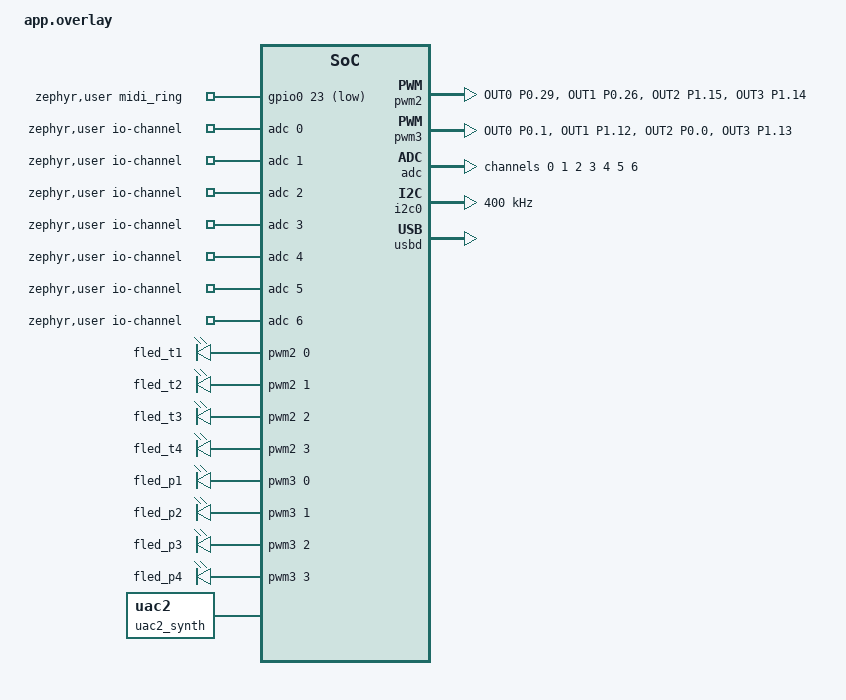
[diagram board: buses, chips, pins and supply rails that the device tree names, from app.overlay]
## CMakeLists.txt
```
# Copyright (c) 2026 Ryan Gilmore
# SPDX-License-Identifier: Apache-2.0

cmake_minimum_required(VERSION 3.20.0)
find_package(Zephyr REQUIRED HINTS $ENV{ZEPHYR_BASE})
project(sp1_usb_audio_example)

include(${ZEPHYR_BASE}/samples/subsys/usb/common/common.cmake)

foreach(f src/usb_audio.c src/usb_audio.h src/uacring.c src/uacring.h
          src/led.c src/led.h src/controls.c src/controls.h
          src/buttons.c src/buttons.h src/sp1_board.h)
  if(NOT EXISTS ${CMAKE_CURRENT_SOURCE_DIR}/${f})
    message(FATAL_ERROR "${f} missing: build with sp1/prep.sh, which stages it")
  endif()
endforeach()

target_sources(app PRIVATE
  src/main.c src/audio.c src/power.c src/gesture.c src/wdt.c
  src/usb_audio.c src/uacring.c
  src/led.c src/controls.c src/buttons.c)

set_source_files_properties(src/uacring.c PROPERTIES
  COMPILE_DEFINITIONS "UACRING_BARRIER=barrier_dmem_fence_full"
  COMPILE_OPTIONS "-include;zephyr/sys/barrier.h")

include(${CMAKE_CURRENT_SOURCE_DIR}/isofast/CMakeLists.txt)

target_include_directories(app PRIVATE src)
```

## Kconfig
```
# Copyright (c) 2026 Ryan Gilmore
# SPDX-License-Identifier: Apache-2.0

source "samples/subsys/usb/common/Kconfig.sample_usbd"
rsource "isofast/Kconfig"
source "Kconfig.zephyr"
```

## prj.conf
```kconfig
# Copyright (c) 2026 Ryan Gilmore
# SPDX-License-Identifier: Apache-2.0

CONFIG_MAIN_THREAD_PRIORITY=7
CONFIG_MAIN_STACK_SIZE=2048

CONFIG_FPU=y
CONFIG_GPIO=y
CONFIG_I2C=y
CONFIG_I2S=y
CONFIG_I2S_NRFX=y
CONFIG_PWM=y
CONFIG_ADC=y

CONFIG_USB_DEVICE_STACK_NEXT=y
CONFIG_USBD_AUDIO2_CLASS=y
CONFIG_UDC_ENABLE_SOF=y

# Zephyr's test VID/PID. Use your own for anything you distribute.
CONFIG_SAMPLE_USBD_VID=0x2fe3
CONFIG_SAMPLE_USBD_PID=0x0001
CONFIG_SAMPLE_USBD_PRODUCT="SP-1 USB audio example"
CONFIG_SAMPLE_USBD_MAX_POWER=50

CONFIG_HWINFO=y
CONFIG_PRINTK=y
CONFIG_LOG=n

CONFIG_REBOOT=y
CONFIG_STACK_SENTINEL=y
CONFIG_HW_STACK_PROTECTION=n
CONFIG_CLOCK_CONTROL_NRF_K32SRC_SYNTH=y
```

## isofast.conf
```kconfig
# Copyright (c) 2026 Ryan Gilmore
# SPDX-License-Identifier: Apache-2.0

CONFIG_UDC_NRF=n
CONFIG_UDC_NRF_ISOFAST=y
```

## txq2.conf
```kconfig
# Copyright (c) 2026 Ryan Gilmore
# SPDX-License-Identifier: Apache-2.0

CONFIG_I2S_NRFX_TX_BLOCK_COUNT=2
```

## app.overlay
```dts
/*
 * Copyright (c) 2026 Ryan Gilmore
 *
 * SPDX-License-Identifier: Apache-2.0
 */
#include <zephyr/dt-bindings/adc/adc.h>
#include <zephyr/dt-bindings/adc/nrf-saadc.h>
#include <zephyr/dt-bindings/gpio/gpio.h>
#include <zephyr/dt-bindings/pwm/pwm.h>
#include <zephyr/dt-bindings/usb/audio.h>

/ {
	zephyr,user {
		midi_ring_gpios = <&gpio0 23 GPIO_ACTIVE_LOW>;
		io-channels = <&adc 0>, <&adc 1>, <&adc 2>, <&adc 3>, <&adc 4>, <&adc 5>, <&adc 6>;
	};

	/* led.c's fixed order: Track 1..4, then side LED 1..4. */
	feldd_leds: feldd-leds {
		compatible = "pwm-leds";
		fled_t1: fled_t1 { pwms = <&pwm2 0 PWM_USEC(1024) PWM_POLARITY_NORMAL>; };
		fled_t2: fled_t2 { pwms = <&pwm2 1 PWM_USEC(1024) PWM_POLARITY_NORMAL>; };
		fled_t3: fled_t3 { pwms = <&pwm2 2 PWM_USEC(1024) PWM_POLARITY_NORMAL>; };
		fled_t4: fled_t4 { pwms = <&pwm2 3 PWM_USEC(1024) PWM_POLARITY_NORMAL>; };
		fled_p1: fled_p1 { pwms = <&pwm3 0 PWM_USEC(1024) PWM_POLARITY_NORMAL>; };
		fled_p2: fled_p2 { pwms = <&pwm3 1 PWM_USEC(1024) PWM_POLARITY_NORMAL>; };
		fled_p3: fled_p3 { pwms = <&pwm3 2 PWM_USEC(1024) PWM_POLARITY_NORMAL>; };
		fled_p4: fled_p4 { pwms = <&pwm3 3 PWM_USEC(1024) PWM_POLARITY_NORMAL>; };
	};

	uac2_synth: usb_audio2 {
		compatible = "zephyr,uac2";
		status = "okay";
		full-speed;
		audio-function = <AUDIO_FUNCTION_MUSICAL_INSTRUMENT>;

		uac2_synth_clock: clock {
			compatible = "zephyr,uac2-clock-source";
			clock-type = "internal-fixed";
			frequency-control = "read-only";
			sampling-frequencies = <48000>;
		};

		uac2_synth_in: synthesizer {
			compatible = "zephyr,uac2-input-terminal";
			clock-source = <&uac2_synth_clock>;
			terminal-type = <EMBEDDED_TERMINAL_SYNTHESIZER>;
			front-left;
			front-right;
		};

		uac2_usb_out: usb_out {
			compatible = "zephyr,uac2-output-terminal";
			data-source = <&uac2_synth_in>;
			clock-source = <&uac2_synth_clock>;
			terminal-type = <USB_TERMINAL_STREAMING>;
		};

		uac2_capture: capture {
			compatible = "zephyr,uac2-audio-streaming";
			linked-terminal = <&uac2_usb_out>;
			subslot-size = <2>;
			bit-resolution = <16>;
		};
	};
};

&pwm2 {
	status = "okay";
	pinctrl-0 = <&pwm2_default>;
	pinctrl-1 = <&pwm2_sleep>;
	pinctrl-names = "default", "sleep";
};

&pwm3 {
	status = "okay";
	pinctrl-0 = <&pwm3_default>;
	pinctrl-1 = <&pwm3_sleep>;
	pinctrl-names = "default", "sleep";
};

&adc {
	status = "okay";
	#address-cells = <1>;
	#size-cells = <0>;
	channel@0 { reg = <0>; zephyr,gain = "ADC_GAIN_1_6"; zephyr,reference = "ADC_REF_INTERNAL";
		zephyr,acquisition-time = <ADC_ACQ_TIME(ADC_ACQ_TIME_MICROSECONDS, 20)>;
		zephyr,input-positive = <NRF_SAADC_AIN0>; zephyr,resolution = <12>; };
	channel@1 { reg = <1>; zephyr,gain = "ADC_GAIN_1_6"; zephyr,reference = "ADC_REF_INTERNAL";
		zephyr,acquisition-time = <ADC_ACQ_TIME(ADC_ACQ_TIME_MICROSECONDS, 20)>;
		zephyr,input-positive = <NRF_SAADC_AIN1>; zephyr,resolution = <12>; };
	channel@2 { reg = <2>; zephyr,gain = "ADC_GAIN_1_6"; zephyr,reference = "ADC_REF_INTERNAL";
		zephyr,acquisition-time = <ADC_ACQ_TIME(ADC_ACQ_TIME_MICROSECONDS, 20)>;
		zephyr,input-positive = <NRF_SAADC_AIN3>; zephyr,resolution = <12>; };
	channel@3 { reg = <3>; zephyr,gain = "ADC_GAIN_1_6"; zephyr,reference = "ADC_REF_INTERNAL";
		zephyr,acquisition-time = <ADC_ACQ_TIME(ADC_ACQ_TIME_MICROSECONDS, 20)>;
		zephyr,input-positive = <NRF_SAADC_AIN6>; zephyr,resolution = <12>; };
	channel@4 { reg = <4>; zephyr,gain = "ADC_GAIN_1_6"; zephyr,reference = "ADC_REF_INTERNAL";
		zephyr,acquisition-time = <ADC_ACQ_TIME(ADC_ACQ_TIME_MICROSECONDS, 20)>;
		zephyr,input-positive = <NRF_SAADC_AIN2>; zephyr,resolution = <12>; };
	channel@5 { reg = <5>; zephyr,gain = "ADC_GAIN_1_6"; zephyr,reference = "ADC_REF_INTERNAL";
		zephyr,acquisition-time = <ADC_ACQ_TIME(ADC_ACQ_TIME_MICROSECONDS, 20)>;
		zephyr,input-positive = <NRF_SAADC_AIN7>; zephyr,resolution = <12>; };
	channel@6 { reg = <6>; zephyr,gain = "ADC_GAIN_1_6"; zephyr,reference = "ADC_REF_INTERNAL";
		zephyr,acquisition-time = <ADC_ACQ_TIME(ADC_ACQ_TIME_MICROSECONDS, 20)>;
		zephyr,input-positive = <NRF_SAADC_AIN4>; zephyr,resolution = <12>; };
};

&i2s0_default {
	group1 {
		psels = <NRF_PSEL(I2S_SCK_S, 0, 12)>,
			<NRF_PSEL(I2S_LRCK_S, 0, 11)>,
			<NRF_PSEL(I2S_SDOUT, 1, 9)>;
	};
};

&i2c0 {
	clock-frequency = <I2C_BITRATE_FAST>;
};

&pinctrl {
	pwm2_default: pwm2_default {
		group1 { psels = <NRF_PSEL(PWM_OUT0, 0, 29)>, <NRF_PSEL(PWM_OUT1, 0, 26)>,
			<NRF_PSEL(PWM_OUT2, 1, 15)>, <NRF_PSEL(PWM_OUT3, 1, 14)>; };
	};
	pwm2_sleep: pwm2_sleep {
		group1 { psels = <NRF_PSEL(PWM_OUT0, 0, 29)>, <NRF_PSEL(PWM_OUT1, 0, 26)>,
			<NRF_PSEL(PWM_OUT2, 1, 15)>, <NRF_PSEL(PWM_OUT3, 1, 14)>;
			low-power-enable; };
	};
	pwm3_default: pwm3_default {
		group1 { psels = <NRF_PSEL(PWM_OUT0, 0, 1)>, <NRF_PSEL(PWM_OUT1, 1, 12)>,
			<NRF_PSEL(PWM_OUT2, 0, 0)>, <NRF_PSEL(PWM_OUT3, 1, 13)>; };
	};
	pwm3_sleep: pwm3_sleep {
		group1 { psels = <NRF_PSEL(PWM_OUT0, 0, 1)>, <NRF_PSEL(PWM_OUT1, 1, 12)>,
			<NRF_PSEL(PWM_OUT2, 0, 0)>, <NRF_PSEL(PWM_OUT3, 1, 13)>;
			low-power-enable; };
	};
};

zephyr_udc0: &usbd {
	compatible = "nordic,nrf-usbd";
	status = "okay";
};

&uart0 {
	status = "disabled";
};
```

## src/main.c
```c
/*
 * Copyright (c) 2026 Ryan Gilmore
 *
 * SPDX-License-Identifier: Apache-2.0
 */
#include "audio.h"
#include "gesture.h"
#include "power.h"
#include "usb_audio.h"
#include "wdt.h"

#include <math.h>
#include <sample_usbd.h>
#include <zephyr/kernel.h>
#include <zephyr/usb/usbd.h>

#define TONE_PERIOD 48u
#define USB_GAIN_Q8 128

static int16_t sine[TONE_PERIOD];

static void render(int16_t *lr, uint32_t frames)
{
	static int16_t usb[AUDIO_BLK_FRAMES * 2];
	static uint32_t phase;
	static int32_t vol_prev = 45;
	const int32_t vol_target = audio_volume_q8();
	const int32_t vol_gd = vol_target - vol_prev;

	if (frames > AUDIO_BLK_FRAMES) frames = AUDIO_BLK_FRAMES;
	for (uint32_t i = 0; i < frames; i++) {
		const int32_t s = sine[phase];
		phase = (phase + 1u) % TONE_PERIOD;

		/* The ramp spreads each volume step across one block so a Vol press does
		 * not click. */
		const int32_t g = vol_prev + vol_gd * (int32_t)(i + 1u) /
				  (int32_t)frames;
		const int16_t speaker = (int16_t)((s * g) >> 8);
		const int16_t host = (int16_t)((s * USB_GAIN_Q8) >> 8);
		lr[i * 2u] = speaker;
		lr[i * 2u + 1u] = speaker;
		usb[i * 2u] = host;
		usb[i * 2u + 1u] = host;
	}
	vol_prev = vol_target;
	usb_audio_push(usb, frames);
}

int main(void)
{
	/* The stock bootloader's roughly 5 s watchdog is already counting. */
	wdt_ensure_started();
	feed_wdt();
	power_boot();

	for (uint32_t i = 0; i < TONE_PERIOD; i++) {
		/* -12 dBFS before either output gain. */
		sine[i] = (int16_t)(8192.0f *
			sinf(2.0f * 3.14159265f * (float)i / (float)TONE_PERIOD));
	}

	feed_wdt();
	usb_audio_init();
	struct usbd_context *ctx = sample_usbd_init_device(usb_audio_usbd_msg);
	if (ctx != NULL) (void)usbd_enable(ctx);
	feed_wdt();
	audio_start(render);

	for (;;) {
		feed_wdt();
		power_poll();
		k_msleep(GESTURE_TICK_MS);
	}
	return 0;
}
```

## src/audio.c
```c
/* SP-1 audio bring-up.
 *
 * Ported from chattock/sp1-tape-looper, firmware/src/main.c (MIT), at 2565e79:
 * tas2505_configure(), hp_codec_init() on its HP_TIM_TEST path, audio_thread()
 * and audio_init(). Register values and the init ORDER are unchanged; that is
 * the part proven on hardware. The CS42L42 sequence is Tim Knapen's
 * (github.com/timknapen/SP-1-dev/wiki/I2C).
 *
 *   Copyright (c) chattock, sp1-tape-looper contributors. MIT License.
 *
 * Clock topology: the 3.072 MHz oscillator (enabled on P0.13) drives SCLK; the
 * CS42L42 is frame master and divides it by 64 to an exact 48 kHz LRCK; the
 * nRF I2S and the TAS2505 are both slaves.
 */
/*
 * Copyright (c) 2026 Ryan Gilmore
 *
 * SPDX-License-Identifier: Apache-2.0
 */
#include "audio.h"
#include "usb_audio.h"
#include "wdt.h"

#include <cmsis_core.h>
#include <hal/nrf_gpio.h>
#include <string.h>
#include <zephyr/device.h>
#include <zephyr/drivers/i2c.h>
#include <zephyr/drivers/i2s.h>
#include <zephyr/kernel.h>

#define CS42_RST_PORT NRF_P0
#define CS42_RST_PIN  15u
#define TAS_RST_PORT  NRF_P0
#define TAS_RST_PIN   9u      /* an NFC pin: the board's uicr reclaims it as GPIO */
#define OSC_EN_PORT   NRF_P0
#define OSC_EN_PIN    13u
#define CS42L42_ADDR  0x48u
#define TAS2505_ADDR  0x18u
#define BLK_BYTES     (AUDIO_BLK_FRAMES * 2 * (int)sizeof(int16_t))

/* nrfx TX queue (2), two EasyDMA buffers, the block being filled, plus slack. */
K_MEM_SLAB_DEFINE_STATIC(tx_slab, BLK_BYTES, 8, 4);

static const struct device *const i2c_bus = DEVICE_DT_GET(DT_NODELABEL(i2c0));
static const struct device *const i2s_dev = DEVICE_DT_GET(DT_NODELABEL(i2s0));

static volatile uint16_t vol_target = 45;   /* main thread writes, audio thread reads */
static audio_render_fn render_cb;
static bool cs42_up;
static bool i2s_started;
static int8_t hp_in = -1;

static void gpio_drive_high(NRF_GPIO_Type *port, uint32_t pin)
{
	port->OUTSET = 1u << pin;
	port->PIN_CNF[pin] =
		(GPIO_PIN_CNF_DIR_Output << GPIO_PIN_CNF_DIR_Pos) |
		(GPIO_PIN_CNF_DRIVE_S0S1 << GPIO_PIN_CNF_DRIVE_Pos) |
		(GPIO_PIN_CNF_INPUT_Connect << GPIO_PIN_CNF_INPUT_Pos);
	port->OUTSET = 1u << pin;
}

static void gpio_drive_low(NRF_GPIO_Type *port, uint32_t pin)
{
	port->OUTCLR = 1u << pin;
}

/* BOOT CLICK, 2026-09-16. The speaker used to click as it came up: the DAC was
 * unmuted on page 0 BEFORE any analog block existed, class-D gain was set to
 * +18 dB and attenuation to 0 dB BEFORE the driver powered up, and every analog
 * enable was a back-to-back I2C write with nothing allowed to settle. The amp
 * was being switched on into a live path -- amp before preamp.
 *
 * Fixed by muting across the bring-up and unmuting last, plus two settling
 * delays. NOT a volume problem: master volume is applied digitally -- a boot
 * volume ramp would change nothing. This diverges from the looper's init order
 * deliberately (Ryan, 2026-09-16). */
/* ---- TAS2505 speaker amp (TI SLAU472C §5.1). PLL locked to BCLK:
 * 3.072 MHz x J32 = 98.304 MHz / (NDAC2 x MDAC8 x DOSR128) = 48000 Hz. ---- */
static int tas_wr(uint8_t reg, uint8_t val)
{
	return i2c_reg_write_byte(i2c_bus, TAS2505_ADDR, reg, val);
}

static bool tas2505_configure(void)
{
	int rc = 0;

	rc |= tas_wr(0x00, 0x00);
	rc |= tas_wr(0x01, 0x01);          /* software reset */
	k_msleep(5);

	rc |= tas_wr(0x00, 0x01);
	rc |= tas_wr(0x02, 0x00);          /* LDO 1.8 V, level shifters up */

	rc |= tas_wr(0x00, 0x00);
	rc |= tas_wr(0x04, 0x07);          /* PLL_CLKIN = BCLK, CODEC_CLKIN = PLL */
	rc |= tas_wr(0x05, 0x91);          /* PLL on, P=1, R=1 */
	rc |= tas_wr(0x06, 0x20);          /* J = 32 */
	rc |= tas_wr(0x07, 0x00);          /* D = 0 */
	rc |= tas_wr(0x08, 0x00);
	k_msleep(15);                      /* PLL lock */
	rc |= tas_wr(0x0B, 0x82);          /* NDAC = 2 */
	rc |= tas_wr(0x0C, 0x88);          /* MDAC = 8 */
	rc |= tas_wr(0x0D, 0x00);
	rc |= tas_wr(0x0E, 0x80);          /* DOSR = 128 */
	rc |= tas_wr(0x1B, 0x00);          /* I2S, 16-bit, slave */
	rc |= tas_wr(0x1C, 0x00);
	rc |= tas_wr(0x3C, 0x02);          /* PRB_P2, mono */
	rc |= tas_wr(0x3F, 0x90);          /* DAC up, left -> left, soft-step */
	rc |= tas_wr(0x41, 0x00);          /* digital gain 0 dB */
	/* The DAC stays MUTED here -- its power-on-reset state -- through the whole
	 * analog bring-up below. The unmute moved to the end of this function; see
	 * the boot-click note above. */

	rc |= tas_wr(0x00, 0x01);
	rc |= tas_wr(0x01, 0x10);          /* analog reference on */
	rc |= tas_wr(0x0A, 0x00);          /* common mode 0.9 V */
	/* Let the common-mode node charge before anything drives a load. These were
	 * back-to-back I2C writes, which is the click. */
	k_msleep(20);
	rc |= tas_wr(0x0C, 0x04);          /* DAC -> output mixer */
	rc |= tas_wr(0x16, 0x00);
	rc |= tas_wr(0x18, 0x00);
	rc |= tas_wr(0x09, 0x20);          /* HP driver up */
	rc |= tas_wr(0x10, 0x00);
	rc |= tas_wr(0x2E, 0x00);          /* speaker attenuation 0 dB */
	rc |= tas_wr(0x30, 0x30);          /* class-D gain +18 dB */
	rc |= tas_wr(0x2D, 0x02);          /* speaker driver up */
	/* And let the driver settle before the DAC is allowed to feed it. */
	k_msleep(20);

	rc |= tas_wr(0x00, 0x00);
	/* Unmute LAST, into an already-settled analog path, and let the DAC's own
	 * soft-step (0x3F bit 4, set above) do the ramp. */
	rc |= tas_wr(0x40, 0x04);          /* unmute */
	k_msleep(10);
	return rc == 0;
}

/* ---- CS42L42 headphones: paged register protocol ---- */
static bool tpw(uint16_t reg, uint8_t val)
{
	uint8_t p[2] = { 0x00, (uint8_t)(reg >> 8) };
	uint8_t b[2] = { (uint8_t)reg, val };
	if (i2c_write(i2c_bus, p, 2, CS42L42_ADDR) != 0) return false;
	return i2c_write(i2c_bus, b, 2, CS42L42_ADDR) == 0;
}

static bool tpr(uint16_t reg, uint8_t *val)
{
	uint8_t p[2] = { 0x00, (uint8_t)(reg >> 8) };
	uint8_t o = (uint8_t)reg;
	if (i2c_write(i2c_bus, p, 2, CS42L42_ADDR) != 0) return false;
	return i2c_write_read(i2c_bus, CS42L42_ADDR, &o, 1, val, 1) == 0;
}

static void hp_codec_init(void)
{
	uint8_t id[3] = { 0 }, pll;

	gpio_drive_low(CS42_RST_PORT, CS42_RST_PIN);   /* without it the codec NAKs */
	k_msleep(5);
	gpio_drive_high(CS42_RST_PORT, CS42_RST_PIN);
	k_msleep(10);

	(void)tpr(0x1001, &id[0]);
	(void)tpr(0x1002, &id[1]);
	(void)tpr(0x1003, &id[2]);
	if (id[0] != 0x42) return;
	(void)tpw(0x1508, 0x10);   /* PLL Control 3 */
	(void)tpw(0x1504, 0x80);   /* PLL Division Fractional Byte 2 */
	(void)tpw(0x1505, 0x3E);   /* PLL Division Integer */
	(void)tpw(0x150A, 0x7D);   /* PLL Calibration Ratio */
	(void)tpw(0x1009, 0x00);   /* MCLK Control */
	(void)tpw(0x1201, 0x01);   /* MCLK Source Select */
	(void)tpw(0x120A, 0x01);   /* Input ASRC Clock Select */
	(void)tpw(0x120B, 0x01);   /* Output ASRC Clock Select */
	(void)tpw(0x1501, 0x01);   /* PLL start */
	(void)tpw(0x1107, 0x01);   /* Oscillator Switch: SCLK */
	for (int t = 0; t < 10; t++) {
		k_msleep(1);
		if (tpr(0x1109, &pll) && pll == 0x02) break;
	}
	(void)tpw(0x1007, 0x13);   /* Serial Port SRC Control */
	(void)tpw(0x1203, 0x1F);   /* FSYNC Pulse Width Lower (64-SCLK frame) */
	(void)tpw(0x1205, 0x3F);   /* FSYNC Period Lower */
	(void)tpw(0x1207, 0x34);   /* ASP Clock Config: MASTER */
	(void)tpw(0x1208, 0x1A);   /* ASP Frame Configuration */
	(void)tpw(0x2A02, 0x02);   /* Channel 1 */
	(void)tpw(0x2A05, 0x42);   /* Channel 2 */
	(void)tpw(0x2601, 0x4C);   /* SRC Input Sample Rate */
	(void)tpw(0x2609, 0x4C);   /* SRC Output Sample Rate */
	(void)tpw(0x2A01, 0x0C);   /* ASP Receive Enable */
	(void)tpw(0x240E, 0x01);   /* Equalizer Input Mute Control */
	(void)tpw(0x2301, 0x00);   /* Mixer A 0 dB */
	(void)tpw(0x2303, 0x00);   /* Mixer B 0 dB */
	(void)tpw(0x1101, 0x96);   /* power up */
	k_msleep(10);
	(void)tpw(0x1121, 0x41);   /* Headset switch control */
	(void)tpw(0x1B74, 0x03);   /* Misc detect control */
	(void)tpw(0x1129, 0x01);   /* Headset clamp disable */
	(void)tpw(0x2001, 0x0D);   /* HP mute all */
	(void)tpw(0x1F06, 0x84);   /* DAC Control 2 */
	(void)tpw(0x2301, 0x00);
	(void)tpw(0x2303, 0x00);
	(void)tpw(0x1B73, 0xC2);   /* Tip Sense Control */
	(void)tpw(0x1B75, 0x9F);   /* Mic detect control 1 */
	(void)tpw(0x2001, 0x01);   /* unmute headphones */
	cs42_up = true;
}

/* ---- speaker on/off: TAS2505 page 1, reg 0x2D (0x02 driver up, 0x00 off) ---- */
static void tas_set_speaker(bool on)
{
	(void)tas_wr(0x00, 0x01);
	(void)tas_wr(0x2D, on ? 0x02 : 0x00);
	(void)tas_wr(0x00, 0x00);
}

/* Headphones in the jack: CS42L42 DET_STATUS1 (page 0x1B, reg 0x77) bit 7, per
 * Tim Knapen's wiki and the looper. 1 plugged, 0 not, -1 read failed. */
static int hp_detect(void)
{
	uint8_t v;
	if (!tpr(0x1B77, &v)) return -1;
	return (v >> 7) & 1;
}

void audio_set_volume_q8(uint16_t q8)
{
	vol_target = q8 > 256 ? 256 : q8;
}

uint16_t audio_volume_q8(void)
{
	return vol_target;
}

void audio_hp_poll(void)
{
	static int div, cand = -1, cnt;
	if (!cs42_up || ++div < 4) return;
	div = 0;
	int c = hp_detect();
	if (c < 0) return;                     /* a failed read holds */
	if (c != cand) {
		cand = c;
		cnt = 1;
		return;
	}
	if (++cnt >= 3 && c != hp_in) {
		hp_in = (int8_t)c;
		tas_set_speaker(!c);
	}
}

/* ---- power-down: the looper's power_off() order ---- */
void audio_shutdown(void)
{
	/* SYSTEM_OFF stops only the nRF. Left powered, the amp and codec drain the
	 * battery for days and can murmur with no clock. Mute both output stages
	 * first so they discharge quietly, then reset them. */
	(void)tpw(0x2001, 0x0D);           /* CS42L42 HP: mute all */
	(void)tas_wr(0x00, 0x01);
	(void)tas_wr(0x30, 0x00);          /* TAS2505 class-D driver: mute */
	k_msleep(30);
	(void)tas_wr(0x00, 0x00);
	(void)tas_wr(0x01, 0x01);          /* TAS2505 software reset */
	gpio_drive_low(CS42_RST_PORT, CS42_RST_PIN);
	gpio_drive_low(OSC_EN_PORT, OSC_EN_PIN);   /* it draws through SYSTEM_OFF */
}

/* ---- the I2S thread ---- */
static K_THREAD_STACK_DEFINE(audio_stack, 1536);
static struct k_thread audio_tcb;

/* Blocks written before the I2S start: exactly the driver's TX queue, which is
 * also what sets output latency (a new block plays after the ones queued). */
#define AUDIO_PRIME CONFIG_I2S_NRFX_TX_BLOCK_COUNT

static void prime(int n, k_timeout_t wait)
{
	for (int i = 0; i < n; i++) {
		void *blk;
		if (k_mem_slab_alloc(&tx_slab, &blk, wait) != 0) break;
		memset(blk, 0, BLK_BYTES);
		if (i2s_write(i2s_dev, blk, BLK_BYTES) != 0) k_mem_slab_free(&tx_slab, blk);
	}
}

static void audio_thread(void *a, void *b, void *c)
{
	ARG_UNUSED(a);
	ARG_UNUSED(b);
	ARG_UNUSED(c);

	struct i2s_config cfg = {
		.word_size = 16,   /* 16 MSBs of each 32-SCLK half-frame */
		.channels = 2,
		.format = I2S_FMT_DATA_FORMAT_I2S,
		.options = I2S_OPT_FRAME_CLK_SLAVE | I2S_OPT_BIT_CLK_SLAVE,
		.frame_clk_freq = AUDIO_SR,
		.mem_slab = &tx_slab,
		.block_size = BLK_BYTES,
		.timeout = 2000,
	};

	if (!device_is_ready(i2s_dev) || i2s_configure(i2s_dev, I2S_DIR_TX, &cfg) != 0) return;
	prime(AUDIO_PRIME, K_FOREVER);
	(void)i2s_trigger(i2s_dev, I2S_DIR_TX, I2S_TRIGGER_START);
	i2s_started = true;

	int wfail = 0;
	for (;;) {
		/* STARVATION GUARD (2026-09-24). Main feeds the watchdog; this thread
		 * outranks it. When a render needs the whole CPU, main gets nothing and
		 * the watchdog resets the unit. If main has not fed it for 1.5 s, step
		 * aside for 20 ms: main finishes its pass and feeds it. The I2S queue runs
		 * dry -- a dropout, which the wfail path below recovers -- instead of a
		 * reset. Idle otherwise: main feeds every few ms. A truly hung main still
		 * stops feeding, so the watchdog still catches it. */
		if (wdt_ms_since_feed() > 1500u) k_msleep(20);

		void *blk;
		if (k_mem_slab_alloc(&tx_slab, &blk, K_FOREVER) != 0) continue;
		/* The slot's time is the audio clock's; the push after the render is
		 * late by the render. The USB regulator steers on this claim. */
		usb_audio_claim(AUDIO_BLK_FRAMES);
		render_cb(blk, AUDIO_BLK_FRAMES);
		/* The USB copy was pushed by render_cb itself (main.c): a second output
		 * at its own level, not this block. */
		if (i2s_write(i2s_dev, blk, BLK_BYTES) != 0) {
			k_mem_slab_free(&tx_slab, blk);
			/* A stopped stream fails every write forever: drop, re-prime, restart. */
			if (++wfail >= 8) {
				wfail = 0;
				(void)i2s_trigger(i2s_dev, I2S_DIR_TX, I2S_TRIGGER_DROP);
				prime(AUDIO_PRIME, K_NO_WAIT);
				(void)i2s_trigger(i2s_dev, I2S_DIR_TX, I2S_TRIGGER_START);
			}
			continue;
		}
		wfail = 0;
	}
}

void audio_start(audio_render_fn render)
{
	render_cb = render;

	/* The looper's order: resets, osc + I2S + TAS2505, then the CS42L42. */
	gpio_drive_high(CS42_RST_PORT, CS42_RST_PIN);
	gpio_drive_high(TAS_RST_PORT, TAS_RST_PIN);
	k_msleep(20);
	gpio_drive_high(OSC_EN_PORT, OSC_EN_PIN);
	k_msleep(5);

	/* PREEMPTIBLE, on purpose. Zephyr's USB threads (usbd, the nRF driver's) are
	 * K_PRIO_COOP(8) and outrank it, so USB work can land mid-render. Made
	 * K_PRIO_COOP(7) to stop that, a render that needs the whole CPU then starved
	 * main and the USB threads for 5 s and the WATCHDOG RESET the unit. Under
	 * overload a preemptible audio thread fails as a late block -- a glitch --
	 * instead. */
	k_thread_create(&audio_tcb, audio_stack, K_THREAD_STACK_SIZEOF(audio_stack),
			audio_thread, NULL, NULL, NULL, K_PRIO_PREEMPT(0), 0, K_NO_WAIT);
	k_thread_name_set(&audio_tcb, "audio");

	for (int i = 0; i < 100 && !i2s_started; i++) k_msleep(2);
	(void)tas2505_configure();
	hp_codec_init();

	/* Auto-mute boot state, the looper's: a majority of 5 reads, 8 ms apart. */
	if (cs42_up) {
		int votes = 0, reads = 0;
		for (int i = 0; i < 5; i++) {
			int c = hp_detect();
			if (c >= 0) {
				reads++;
				votes += c;
			}
			k_msleep(8);
		}
		hp_in = (reads > 0 && votes * 2 > reads) ? 1 : 0;
		tas_set_speaker(!hp_in);
	}
}
```

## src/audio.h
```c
/* SP-1 audio output: CS42L42 headphones + TAS2505 speaker, 48 kHz 16-bit stereo. */
/*
 * Copyright (c) 2026 Ryan Gilmore
 *
 * SPDX-License-Identifier: Apache-2.0
 */
#pragma once

#include <stdint.h>

#define AUDIO_SR         48000
/* 128 = 2.67 ms at 48 kHz: a new block plays after the ones queued, so latency
 * scales with block length. */
#define AUDIO_BLK_FRAMES 128          /* 2.67 ms at 48 kHz */

/* Fill `frames` interleaved stereo frames. Runs on the audio thread,
 * PREEMPT(0): no blocking, no I2C, no printk. */
typedef void (*audio_render_fn)(int16_t *lr, uint32_t frames);

void audio_start(audio_render_fn render);
/* Mute and reset both output chips, stop the oscillator. Before SYSTEM_OFF
 * only; main thread (it uses I2C). */
void audio_shutdown(void);

/* Master volume, Q8 (256 = unity). Main thread; the audio thread ramps to it
 * across one block, as the looper does, so a step never clicks. */
void audio_set_volume_q8(uint16_t q8);
/* Read the target volume for the audio thread's per-block ramp. */
uint16_t audio_volume_q8(void);

/* Headphone auto-mute of the speaker, the looper's: CS42L42 jack detect polled
 * every 4th call (~40 ms at the 10 ms tick), switching only after 3 equal reads;
 * a failed read holds. Main thread only -- the audio thread does no I2C. */
void audio_hp_poll(void);
```

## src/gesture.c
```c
/* gesture.c — see gesture.h. */
/*
 * Copyright (c) 2026 Ryan Gilmore
 *
 * SPDX-License-Identifier: Apache-2.0
 */
#include "gesture.h"

void gesture_init(struct gesture_state *s)
{
	s->func_ticks = 0;
	s->func_armed = false;
}

bool gesture_step(struct gesture_state *s, bool func_low)
{
	/* A •• already down at boot (the wake press, or a hold through a reset)
	 * must not start a power-off: feldd's func_armed rule. */
	if (!s->func_armed) {
		if (!func_low) s->func_armed = true;
		s->func_ticks = 0;
		return false;
	}
	if (!func_low) {
		s->func_ticks = 0;
		return false;
	}
	return ++s->func_ticks >= GESTURE_OFF_TICKS;
}

void gesture_cancel(struct gesture_state *s)
{
	s->func_ticks = 0;
}

void wake_init(struct wake_state *s)
{
	s->held_ms = 0;
}

enum wake wake_step(struct wake_state *s, bool func_low, bool usb_present)
{
	if (func_low) {
		s->held_ms += WAKE_TICK_MS;
		return s->held_ms >= WAKE_HOLD_MS ? WAKE_BOOT : WAKE_WAIT;
	}
	s->held_ms = 0;
	return usb_present ? WAKE_WAIT : WAKE_OFF;
}

int battery_pct(int raw)
{
	if (raw < 0) return -1;
	int pct = (raw - BATT_RAW_EMPTY) * 100 / (BATT_RAW_FULL - BATT_RAW_EMPTY);
	if (pct < 0) pct = 0;
	if (pct > 100) pct = 100;
	return pct;
}

unsigned charge_gauge_bits(int pct, bool charging, unsigned tick)
{
	if (!charging) return 0xFu;
	int n_full = pct < 0 ? 0 : pct / 25;
	if (n_full > 4) n_full = 4;
	unsigned bits = (1u << n_full) - 1u;
	if (n_full < 4 && ((tick / GAUGE_BLINK_TICKS) & 1u)) bits |= 1u << n_full;
	return bits;
}

static const uint16_t vol_table[VOL_STEPS + 1] = {
	0, 2, 3, 4, 6, 8, 11, 16, 23, 32, 45, 64, 90, 128, 181, 256,
};

void vol_init(struct vol_state *s)
{
	s->idx = VOL_DEFAULT_IDX;
	s->dir = 0;
	s->held_ms = s->last_ms = 0;
}

bool vol_step(struct vol_state *s, int dir, uint32_t now_ms)
{
	bool step = false;
	if (dir == 0) {
		s->dir = 0;
		return false;
	}
	if (dir != s->dir) {                       /* a new press: step now */
		s->dir = dir;
		s->held_ms = s->last_ms = now_ms;
		step = true;
	} else if (now_ms - s->held_ms >= VOL_REPEAT_MS &&
		   now_ms - s->last_ms >= VOL_EVERY_MS) {
		s->last_ms = now_ms;                   /* held: repeat */
		step = true;
	}
	if (!step) return false;
	int n = s->idx + dir;
	if (n < 0) n = 0;
	if (n > VOL_STEPS) n = VOL_STEPS;
	if (n == s->idx) return false;
	s->idx = n;
	return true;
}

uint16_t vol_q8(int idx)
{
	if (idx < 0) idx = 0;
	if (idx > VOL_STEPS) idx = VOL_STEPS;
	return vol_table[idx];
}
```

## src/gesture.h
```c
/* gesture.h — •• held -> power off.
 *
 * A •• press wakes through SYSTEM_OFF, and Track 1+4 held from off enters DFU.
 * Without a power-off, a firmware that feeds the watchdog can only be left by
 * draining the battery or by SWD. There is deliberately no in-firmware DFU
 * combo (Ryan, 2026-09-14): power off, then use the bootloader.
 *
 * Pure logic; power.c does the I/O. The hold is feldd's (~5 s, main.c),
 * rescaled from its ~8 ms tick to this firmware's 10 ms. */
/*
 * Copyright (c) 2026 Ryan Gilmore
 *
 * SPDX-License-Identifier: Apache-2.0
 */
#pragma once

#include <stdbool.h>
#include <stdint.h>

#define GESTURE_TICK_MS      10
#define GESTURE_OFF_TICKS    500    /* 5 s */

struct gesture_state {
	int func_ticks;
	bool func_armed;   /* •• must read released once before a hold counts */
};

void gesture_init(struct gesture_state *s);

/* One tick. func_low: the •• pin reads pressed. True: power off now. */
bool gesture_step(struct gesture_state *s, bool func_low);

/* A •• combo press (•• + a button) is consumed and must not count toward the
 * power-off, as feldd's combo_dispatch resets its hold. Call every tick the
 * combo is held, before gesture_step: feldd resets only on the press edge, so a
 * long ••+T1 battery peek there would still power off at 5 s. */
void gesture_cancel(struct gesture_state *s);

/* ---- power-on hold ----
 * The SP-1 wakes on ANY •• press, and USB plug-in and the post-flash reset
 * reach the app too. A bump must not boot the firmware and drain the battery,
 * so every boot except a watchdog recovery waits for a 1.5 s •• hold first. On
 * battery, a release before then goes straight back to off; on USB it waits,
 * as feldd parks after a plug-in. The looper's M18 fix. */
#define WAKE_TICK_MS   20
#define WAKE_HOLD_MS   1500

enum wake { WAKE_WAIT, WAKE_BOOT, WAKE_OFF };

struct wake_state {
	int held_ms;
};

void wake_init(struct wake_state *s);

/* One WAKE_TICK_MS tick of the boot gate. */
enum wake wake_step(struct wake_state *s, bool func_low, bool usb_present);

/* ---- charge gauge, shown on the side row while waiting on USB ----
 * feldd's battery_pct() and charge_gauge() (main.c). Its calibration is marked
 * PROVISIONAL there: fitted against the stock curve, divider assumed ~1/2. */
#define BATT_RAW_EMPTY      1962
#define BATT_RAW_FULL       2378
#define GAUGE_BLINK_TICKS   24     /* feldd: 12 ticks of 40 ms; here 24 of 20 ms */
#define GAUGE_SAMPLE_TICKS  100    /* feldd re-reads ~every 2 s */

/* 0..100 from a raw AIN4 read, or -1 if the read failed. */
int battery_pct(int raw);

/* Bit i = side LED i+1. Charging: whole quarters solid, the next one blinking.
 * Not charging (charge complete): all four solid. */
unsigned charge_gauge_bits(int pct, bool charging, unsigned tick);

/* ---- master volume, on Vol+ / Vol- ----
 * The looper's (sp1-tape-looper main.c): a 16-step perceptual table, ~3 dB a
 * step, Q8 (256 = unity), booting at index 10 = 45 -- its proven-clean speaker
 * level; the TAS2505's small speaker distorts well below full scale. A press
 * steps once; holding repeats after 500 ms, then every 110 ms. Not saved. */
#define VOL_STEPS        15
#define VOL_DEFAULT_IDX  10
#define VOL_REPEAT_MS    500
#define VOL_EVERY_MS     110

struct vol_state {
	int idx;
	int dir;            /* the direction held last tick: -1, 0, +1 */
	uint32_t held_ms;   /* when that hold began */
	uint32_t last_ms;   /* when it last stepped */
};

void vol_init(struct vol_state *s);
/* One tick. dir: +1 Vol+ held, -1 Vol- held, 0 neither. True if idx changed. */
bool vol_step(struct vol_state *s, int dir, uint32_t now_ms);
uint16_t vol_q8(int idx);
```

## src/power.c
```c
/* power.c — see power.h.
 *
 * Ported from feldd (firmware/app/src/main.c): charger_init(), the charge-
 * standby gate with its press feedback and charge gauge, boot_signature(),
 * enter_bootloader()'s park-and-SYSTEM_OFF, the side-row rest LED, track press
 * feedback and the ••+T1 battery peek. The LED, ADC and button drivers are
 * feldd's own files, staged by prep.sh. Every LED behaviour here is feldd's;
 * the one deviation is gesture_cancel()'s per-tick reset (gesture.h). */
/*
 * Copyright (c) 2026 Ryan Gilmore
 *
 * SPDX-License-Identifier: Apache-2.0
 */
#include "power.h"

#include "audio.h"
#include "buttons.h"
#include "controls.h"
#include "gesture.h"
#include "led.h"
#include "sp1_board.h"
#include "wdt.h"

#include <hal/nrf_gpio.h>
#include <nrfx.h>
#include <zephyr/kernel.h>

#define PIN_TRS_RING    NRF_GPIO_PIN_MAP(0, 23)   /* PNP base: HIGH = current source off */
#define ADC_BATTERY     6                          /* controls.c channel order */
#define BOOT_SIG_SWEEPS 2                          /* feldd v0.6.2-beta */
#define LED_SIDE1       4                          /* led.c: 4..7 = side LED1..4 */

static struct gesture_state gs;
static struct vol_state vs;
static bool vol_up_held, vol_dn_held;

FUNC_NORETURN static void system_off(void);

/* ---- LED writes: only on change, lit before dark ----
 *
 * power_poll used to rewrite all eight LEDs every 10 ms tick. Two costs, both
 * avoided here:
 *   - LIT BEFORE DARK. Zephyr's nRF PWM driver stops a PWM instance the moment
 *     all its channels are dark, then busy-waits up to a period (1.024 ms) to
 *     restart it (pwm_nrfx.c). A single LED stepping along a row -- press
 *     feedback moving between Tracks -- would hit that on every step if the
 *     old LED went dark first. Both rows are one PWM instance each
 *     (app.overlay: PWM2 Track, PWM3 side).
 *   - ONLY ON CHANGE. A write that changes nothing still ends in a PWM sequence
 *     playback. The cache is power_poll's alone: power_boot() forgets it, since
 *     the boot and gate paths drive LEDs directly. */
static int8_t led_cache[LED_COUNT];

static void led_cache_forget(void)
{
	for (int i = 0; i < LED_COUNT; i++) led_cache[i] = -1;
}

static void led_put(int i, bool on)
{
	if (led_cache[i] == (int8_t)on) return;
	led_idx(i, on);
	led_cache[i] = (int8_t)on;
}

static void row_put(int base, unsigned bits)
{
	for (int i = 0; i < 4; i++) if ((bits >> i) & 1u) led_put(base + i, true);
	for (int i = 0; i < 4; i++) if (!((bits >> i) & 1u)) led_put(base + i, false);
}

static void side_row(unsigned bits)
{
	row_put(LED_SIDE1, bits);
}

/* feldd's boot_signature(): two Track 1->4 sweeps at full brightness. */
static void boot_signature(void)
{
	led_set_brightness(LED_BRIGHTNESS_FULL);
	for (int i = 0; i < 4; i++) led_idx(i, false);
	for (int pass = 0; pass < BOOT_SIG_SWEEPS; pass++) {
		for (int i = 0; i < 4; i++) {
			feed_wdt();
			led_idx(i, true);
			k_msleep(80);
			led_idx(i, false);
		}
	}
	led_set_brightness(LED_BRIGHTNESS_DEFAULT);
}

/* The power-on hold (gesture.h), with feldd's gate feedback: Track LED 1 while
 * •• is held; the charge gauge on the side row while released on USB, the ADC
 * and BTN_COM rail brought up only then, never on battery. */
static void power_on_gate(void)
{
	struct wake_state w;
	wake_init(&w);
	bool adc_up = false;
	int batt_raw = -1;

	led_set_brightness(LED_BRIGHTNESS_FULL);
	for (unsigned tick = 0;; tick++) {
		feed_wdt();
		bool held = nrf_gpio_pin_read(SP1_FUNC_BTN) == 0;
		bool usb = nrf_gpio_pin_read(SP1_CHG_NPGOOD) == 0;
		switch (wake_step(&w, held, usb)) {
		case WAKE_BOOT:
			side_row(0);
			led_idx(0, false);
			led_set_brightness(LED_BRIGHTNESS_DEFAULT);
			return;                    /* the •• still held is ignored by gesture_step */
		case WAKE_OFF:
			system_off();              /* nothing is running yet to shut down */
		case WAKE_WAIT:
			break;
		}
		led_idx(0, held);
		if (!held && usb) {
			if (!adc_up) {
				(void)controls_init();
				batt_raw = controls_read_raw(ADC_BATTERY);
				adc_up = true;
			} else if (tick % GAUGE_SAMPLE_TICKS == 0) {
				batt_raw = controls_read_raw(ADC_BATTERY);
			}
			side_row(charge_gauge_bits(battery_pct(batt_raw),
						   nrf_gpio_pin_read(SP1_CHG_NCHG) == 0, tick));
		}
		k_msleep(WAKE_TICK_MS);
	}
}

void power_boot(void)
{
	/* Why we booted -- read BEFORE clearing. A stale reset reason or DFU flag
	 * can make the bootloader misfire after a watchdog reset. */
	uint32_t reas = NRF_POWER->RESETREAS;
	led_cache_forget();                /* nothing is known to be lit yet */
	NRF_POWER->RESETREAS = 0xFFFFFFFFu;
	NRF_POWER->GPREGRET = 0;

	(void)led_init();
	/* Without this the battery never charges, even on USB, and a flat cell
	 * brown-out-thrashes the boot. */
	nrf_gpio_pin_clear(SP1_CHG_NCE);
	nrf_gpio_cfg_output(SP1_CHG_NCE);
	nrf_gpio_pin_clear(SP1_CHG_NCE);
	nrf_gpio_cfg_input(SP1_CHG_NCHG, NRF_GPIO_PIN_PULLUP);
	nrf_gpio_cfg_input(SP1_CHG_NPGOOD, NRF_GPIO_PIN_PULLUP);

	nrf_gpio_cfg_input(SP1_FUNC_BTN, NRF_GPIO_PIN_PULLUP);
	gesture_init(&gs);
	vol_init(&vs);
	audio_set_volume_q8(vol_q8(vs.idx));

	/* A watchdog recovery was mid-session: resume without the hold. */
	if (!(reas & POWER_RESETREAS_DOG_Msk)) power_on_gate();

	boot_signature();
	(void)controls_init();             /* power the ladder rail, set up the SAADC */
	(void)buttons_init();
	led_idx(LED_SIDE1, true);          /* lit through boot; power_poll takes over from here */
	led_cache_forget();                /* the paths above wrote LEDs directly */
}

FUNC_NORETURN static void power_off(void)
{
	audio_shutdown();
	system_off();
}

/* feldd's enter_bootloader(): park every output, wait for the •• release, arm
 * sense-low on it, clear RESETREAS, SYSTEM_OFF. */
FUNC_NORETURN static void system_off(void)
{
	/* SYSTEM_OFF retains driven levels: a lit LED would stay lit and drain the
	 * cell (feldd's 0.7.0-beta "LEDs never turn off" report). */
	for (int i = 0; i < LED_COUNT; i++) led_idx(i, false);
	nrf_gpio_cfg_output(SP1_BTN_COM);
	nrf_gpio_pin_clear(SP1_BTN_COM);
	nrf_gpio_pin_set(PIN_TRS_RING);
	nrf_gpio_cfg_output(PIN_TRS_RING);

	/* Arming sense-low on a pin still held low wakes the chip the instant
	 * SYSTEM_OFF latches, and the power-off silently fails. */
	while (nrf_gpio_pin_read(SP1_FUNC_BTN) == 0) {
		feed_wdt();
		k_msleep(20);
	}
	k_msleep(60);
	nrf_gpio_cfg_sense_input(SP1_FUNC_BTN, NRF_GPIO_PIN_PULLUP,
				 NRF_GPIO_PIN_SENSE_LOW);
	NRF_POWER->RESETREAS = 0xFFFFFFFFu;
	__DSB();
	NRF_POWER->SYSTEMOFF = 1u;
	__DSB();
	for (;;) { }
}

void power_poll(void)
{
	static unsigned tick;
	tick++;

	/* The ladder debounce, as feldd's control loop runs it. Vol+/- are consumed
	 * here; the committed track state drives the LEDs below. */
	struct button_event evt[BTN_COUNT * 2];
	int nev = buttons_scan(evt, ARRAY_SIZE(evt));
	/* Vol+ (5) and Vol- (6): the looper's master volume (gesture.h). */
	for (int i = 0; i < nev; i++) {
		if (evt[i].idx == 5) vol_up_held = evt[i].pressed;
		if (evt[i].idx == 6) vol_dn_held = evt[i].pressed;
	}

	int vdir = vol_up_held == vol_dn_held ? 0 : (vol_up_held ? 1 : -1);
	if (vol_step(&vs, vdir, k_uptime_get_32())) audio_set_volume_q8(vol_q8(vs.idx));
	audio_hp_poll();

	bool func_down = nrf_gpio_pin_read(SP1_FUNC_BTN) == 0;
	int trk = buttons_track_committed();          /* -1 none, 0 Play, 1..4 Track */
	if (func_down && trk >= 0) gesture_cancel(&gs);
	if (gesture_step(&gs, func_down)) power_off();

	/* feldd's track row: the ••+T1 battery peek keeps it dark; otherwise light
	 * only the held Track's own LED. */
	bool batt_peek = func_down && trk == 1;
	unsigned track_bits = !batt_peek && trk >= 1 && trk <= 4 ? 1u << (trk - 1) : 0;
	row_put(0, track_bits);
	/* The side row: feldd's charge gauge during the ••+T1 peek, then feldd's
	 * rest dot. tick / 2 keeps the gauge's ~0.5 s blink at this loop's 10 ms tick. */
	if (batt_peek) {
		side_row(charge_gauge_bits(battery_pct(controls_read_raw(ADC_BATTERY)),
					   nrf_gpio_pin_read(SP1_CHG_NCHG) == 0, tick / 2));
	} else {
		side_row(1u); /* feldd's running/rest LED at default brightness */
	}
}
```

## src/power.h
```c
/* power.h — boot hygiene, the battery charger, and the •• power-off.
 * See gesture.h for why power-off is not optional. Main thread only. */
/*
 * Copyright (c) 2026 Ryan Gilmore
 *
 * SPDX-License-Identifier: Apache-2.0
 */
#pragma once

/* First thing in main(), after the watchdog: clear RESETREAS and GPREGRET,
 * enable charging, configure the •• pin, then hold the boot until •• has been
 * held 1.5 s (gesture.h). Returns only to boot; a bump on battery never returns. */
void power_boot(void);

/* Every GESTURE_TICK_MS. Does not return once a power-off starts. */
void power_poll(void);
```

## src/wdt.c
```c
/* wdt.c — see wdt.h. */
/*
 * Copyright (c) 2026 Ryan Gilmore
 *
 * SPDX-License-Identifier: Apache-2.0
 */
#include "wdt.h"

#include <nrfx.h>
#include <zephyr/kernel.h>

static volatile uint32_t last_feed_ms;

void wdt_ensure_started(void)
{
	/* If the bootloader ever hands over a STOPPED WDT, feeding is a silent
	 * no-op and there is no hang backstop at all; start one. */
	if (NRF_WDT->RUNSTATUS & WDT_RUNSTATUS_RUNSTATUS_Msk) return;
	NRF_WDT->CONFIG = (WDT_CONFIG_SLEEP_Run << WDT_CONFIG_SLEEP_Pos);
	NRF_WDT->CRV = 8u * 32768u - 1u;   /* ~8 s at 32.768 kHz */
	NRF_WDT->RREN = WDT_RREN_RR0_Msk;
	NRF_WDT->TASKS_START = 1u;
}

void feed_wdt(void)
{
	/* Writing a channel that is not enabled is harmless, and which ones the
	 * bootloader enabled is not ours to know. */
	for (int ch = 0; ch < 8; ch++) NRF_WDT->RR[ch] = WDT_RR_RR_Reload;
	last_feed_ms = k_uptime_get_32();
}

uint32_t wdt_ms_since_feed(void)
{
	return k_uptime_get_32() - last_feed_ms;
}
```

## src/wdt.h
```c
/* wdt.h — the hardware watchdog the TE bootloader leaves running.
 *
 * The bootloader starts WDT0 (~5 s) before jumping to the app, and a running
 * nRF52840 WDT cannot be stopped or reconfigured. An app that never reloads it
 * resets every 5 s.
 *
 * Both functions are feldd's (main.c), which is hardware-proven; the looper
 * feeds the same way. */
/*
 * Copyright (c) 2026 Ryan Gilmore
 *
 * SPDX-License-Identifier: Apache-2.0
 */
#pragma once

#include <stdint.h>

/* Start WDT0 at ~8 s only if nothing already did; a running one is left as the
 * bootloader configured it. Call first thing in main(). */
void wdt_ensure_started(void);

/* Reload every channel. Main thread: once per loop pass. */
void feed_wdt(void);

/* Milliseconds since the last feed_wdt(). Any thread: the audio thread reads it
 * to notice main being starved (audio.c, the starvation guard). */
uint32_t wdt_ms_since_feed(void);
```
